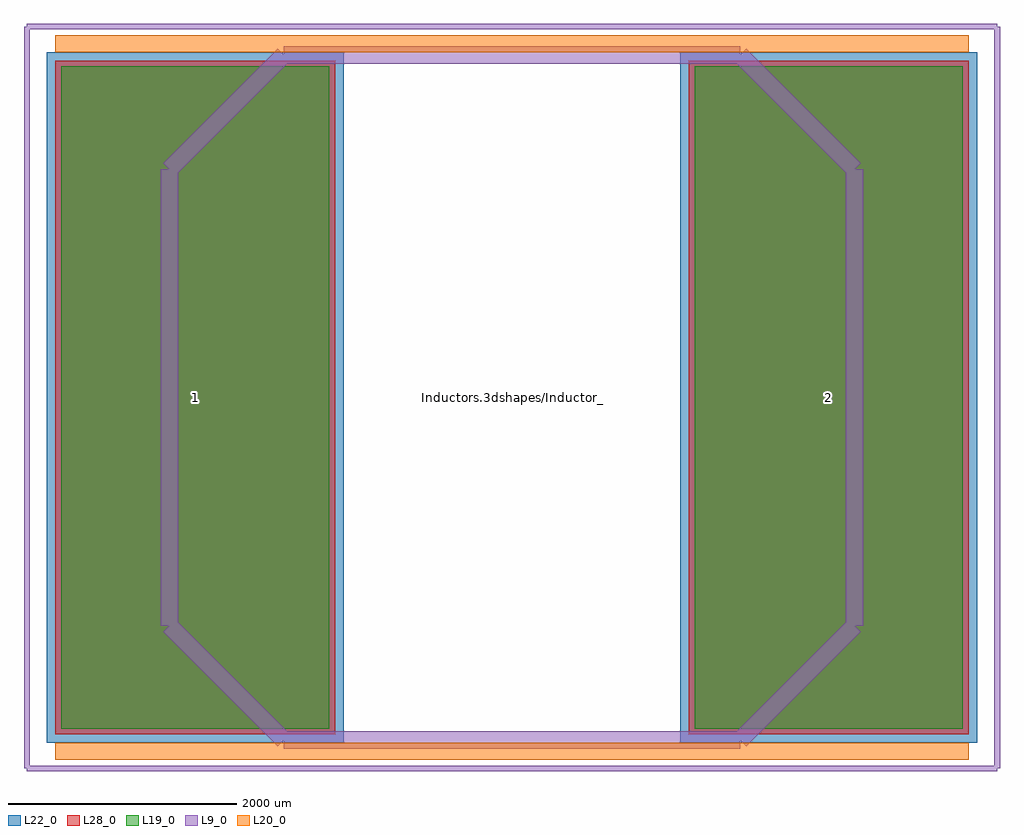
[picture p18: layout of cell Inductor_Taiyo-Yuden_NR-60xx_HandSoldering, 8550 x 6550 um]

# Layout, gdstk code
import gdstk
lib = gdstk.Library(unit=1e-6, precision=1e-09)
def R(c, l, rs):  # rectangles x0, y0, x1, y1
    for r in rs: c.add(gdstk.rectangle(r[:2], r[2:], *l))
L9_0 = (9, 0)
L19_0 = (19, 0)
L20_0 = (20, 0)
L22_0 = (22, 0)
L28_0 = (28, 0)

inductor_taiyo_yuden_nr_ = lib.new_cell('Inductor_Taiyo-Yuden_NR-60xx_HandSoldering')
R(inductor_taiyo_yuden_nr_, L19_0, [(-3950,-2900,-1600,2900), (1600,-2900,3950,2900)])
R(inductor_taiyo_yuden_nr_, L22_0, [(-4075,-3025,-1475,3025), (1475,-3025,4075,3025)])
R(inductor_taiyo_yuden_nr_, L28_0, [(-4000,-2950,-1550,2950), (1550,-2950,4000,2950)])
inductor_taiyo_yuden_nr_.add(gdstk.FlexPath([(4250,3250),(-4250,3250)], 50, ends="flush", simple_path=True, layer=9, datatype=0))  # L9_0
inductor_taiyo_yuden_nr_.add(gdstk.FlexPath([(4250,-3250),(4250,3250)], 50, ends="flush", simple_path=True, layer=9, datatype=0))  # L9_0
inductor_taiyo_yuden_nr_.add(gdstk.FlexPath([(-4250,-3250),(4250,-3250)], 50, ends="flush", simple_path=True, layer=9, datatype=0))  # L9_0
inductor_taiyo_yuden_nr_.add(gdstk.FlexPath([(-4250,3250),(-4250,-3250)], 50, ends="flush", simple_path=True, layer=9, datatype=0))  # L9_0
inductor_taiyo_yuden_nr_.add(gdstk.FlexPath([(-4000,-3100),(4000,-3100)], 149.998, ends="flush", simple_path=True, layer=20, datatype=0))  # L20_0
inductor_taiyo_yuden_nr_.add(gdstk.FlexPath([(-4000,3100),(4000,3100)], 149.998, ends="flush", simple_path=True, layer=20, datatype=0))  # L20_0
inductor_taiyo_yuden_nr_.add(gdstk.FlexPath([(-2000,-3000),(0,-3000)], 149.998, ends="flush", simple_path=True, layer=9, datatype=0))  # L9_0
inductor_taiyo_yuden_nr_.add(gdstk.FlexPath([(-3000,-2000),(-2000,-3000)], 149.998, ends="flush", simple_path=True, layer=9, datatype=0))  # L9_0
inductor_taiyo_yuden_nr_.add(gdstk.FlexPath([(-3000,0),(-3000,-2000)], 149.998, ends="flush", simple_path=True, layer=9, datatype=0))  # L9_0
inductor_taiyo_yuden_nr_.add(gdstk.FlexPath([(2000,-3000),(0,-3000)], 149.998, ends="flush", simple_path=True, layer=9, datatype=0))  # L9_0
inductor_taiyo_yuden_nr_.add(gdstk.FlexPath([(3000,-2000),(2000,-3000)], 149.998, ends="flush", simple_path=True, layer=9, datatype=0))  # L9_0
inductor_taiyo_yuden_nr_.add(gdstk.FlexPath([(3000,0),(3000,-2000)], 149.998, ends="flush", simple_path=True, layer=9, datatype=0))  # L9_0
inductor_taiyo_yuden_nr_.add(gdstk.FlexPath([(2000,3000),(0,3000)], 149.998, ends="flush", simple_path=True, layer=9, datatype=0))  # L9_0
inductor_taiyo_yuden_nr_.add(gdstk.FlexPath([(3000,2000),(2000,3000)], 149.998, ends="flush", simple_path=True, layer=9, datatype=0))  # L9_0
inductor_taiyo_yuden_nr_.add(gdstk.FlexPath([(3000,0),(3000,2000)], 149.998, ends="flush", simple_path=True, layer=9, datatype=0))  # L9_0
inductor_taiyo_yuden_nr_.add(gdstk.FlexPath([(-2000,3000),(0,3000)], 149.998, ends="flush", simple_path=True, layer=9, datatype=0))  # L9_0
inductor_taiyo_yuden_nr_.add(gdstk.FlexPath([(-3000,2000),(-2000,3000)], 149.998, ends="flush", simple_path=True, layer=9, datatype=0))  # L9_0
inductor_taiyo_yuden_nr_.add(gdstk.FlexPath([(-3000,0),(-3000,2000)], 149.998, ends="flush", simple_path=True, layer=9, datatype=0))  # L9_0
inductor_taiyo_yuden_nr_.add(gdstk.Label('Inductors.3dshapes/Inductor_Taiyo-Yuden_NR-60xx.wrl', (0,0), layer=12, texttype=0))
inductor_taiyo_yuden_nr_.add(gdstk.Label('2', (2775,0), layer=28, texttype=0))
inductor_taiyo_yuden_nr_.add(gdstk.Label('1', (-2775,0), layer=28, texttype=0))
inductor_taiyo_yuden_nr_.add(gdstk.Label('type', (0,-4500), layer=9, texttype=0))
inductor_taiyo_yuden_nr_.add(gdstk.Label('devicename', (0,4000), layer=9, texttype=0))

lib.write_gds('Inductor_Taiyo-Yuden_NR-60xx_HandSoldering.gds')
